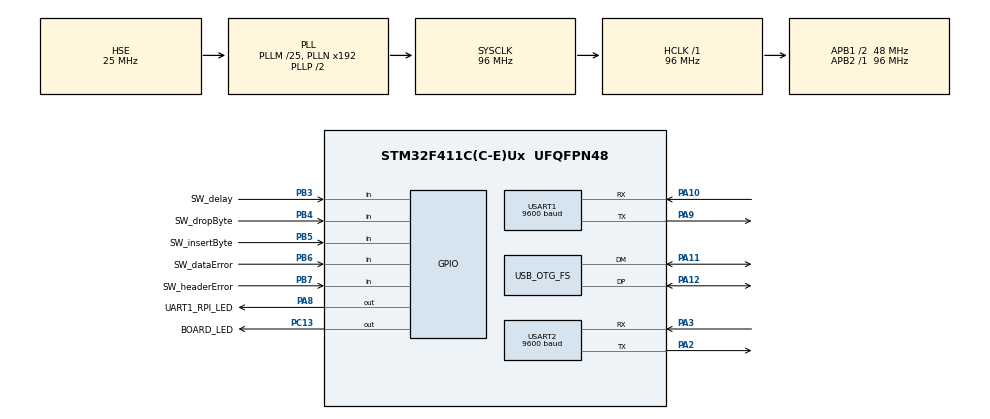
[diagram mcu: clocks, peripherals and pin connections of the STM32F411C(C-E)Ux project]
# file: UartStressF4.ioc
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FREERTOS.BinarySemaphores01=sem01,Dynamic,NULL,;sem02,Dynamic,NULL,Available;sem03,Dynamic,NULL,Available
FREERTOS.CountingSemaphores01=myCountingSem01,2,Dynamic,NULL,2
FREERTOS.INCLUDE_xTaskGetHandle=1
FREERTOS.Mutexes01=mutex01,Dynamic,NULL,Depleted;mutex02,Dynamic,NULL,Available
FREERTOS.Queues01=quToSenzor,128,uint8_t,0,Dynamic,NULL,NULL;quToRpi,128,uint8_t,0,Dynamic,NULL,NULL;quTest1,16,uint8_t,0,Dynamic,NULL,NULL;quTest2,16,uint8_t,0,Dynamic,NULL,NULL
FREERTOS.RecursiveMutexes01=myRecursiveMutex01,Dynamic,NULL,
FREERTOS.Tasks01=defaultTask,24,128,StartDefaultTask,Default,NULL,Dynamic,NULL,NULL;Blinker,8,128,BlinkerStart,Default,NULL,Dynamic,NULL,NULL;usbTerminal,8,1000,usbTerminalStart,Default,NULL,Dynamic,NULL,NULL;taskToRpi,24,256,taskToRpiStart,Default,NULL,Dynamic,NULL,NULL;taskToSensor,24,256,taskToSensorStart,Default,NULL,Dynamic,NULL,NULL;blinkRpi,8,128,blinkRpiStart,Default,NULL,Dynamic,NULL,NULL;blinkSenzor,8,128,blinkSenzorStart,Default,NULL,Dynamic,NULL,NULL
FREERTOS.Timers01=timer01,timer01Callback,osTimerPeriodic,Default,NULL,Dynamic,NULL;timer02,timer02Callback,osTimerOnce,Default,NULL,Dynamic,NULL
FREERTOS.configCHECK_FOR_STACK_OVERFLOW=2
FREERTOS.configENABLE_FPU=1
FREERTOS.configMAX_TASK_NAME_LEN=56
FREERTOS.configRECORD_STACK_HIGH_ADDRESS=1
FREERTOS.configUSE_IDLE_HOOK=1
FREERTOS.configUSE_NEWLIB_REENTRANT=1
Mcu.Family=STM32F4
Mcu.Name=STM32F411C(C-E)Ux
Mcu.Package=UFQFPN48
Mcu.UserConstants=UART_RPI,$$_USART1_IP_HANDLE_$$;UART_SENZOR,$$_USART2_IP_HANDLE_$$
NVIC.OTG_FS_IRQn=true\:5\:0\:false\:false\:true\:true\:false\:true\:true
NVIC.PriorityGroup=NVIC_PRIORITYGROUP_4
NVIC.TIM1_TRG_COM_TIM11_IRQn=true\:15\:0\:false\:false\:true\:false\:false\:true\:true
NVIC.TimeBase=TIM1_TRG_COM_TIM11_IRQn
NVIC.TimeBaseIP=TIM11
NVIC.USART1_IRQn=true\:5\:0\:false\:true\:true\:1\:true\:true\:true\:true
NVIC.USART2_IRQn=true\:5\:0\:false\:true\:true\:2\:true\:true\:true\:true
PA10.Mode=Asynchronous
PA10.Signal=USART1_RX
PA11.Mode=Device_Only
PA11.Signal=USB_OTG_FS_DM
PA12.Mode=Device_Only
PA12.Signal=USB_OTG_FS_DP
PA13.Mode=Serial_Wire
PA13.Signal=SYS_JTMS-SWDIO
PA14.Mode=Serial_Wire
PA14.Signal=SYS_JTCK-SWCLK
PA2.Mode=Asynchronous
PA2.Signal=USART2_TX
PA3.Mode=Asynchronous
PA3.Signal=USART2_RX
PA8.GPIO_Label=UART1_RPI_LED
PA8.Signal=GPIO_Output
PA9.Mode=Asynchronous
PA9.Signal=USART1_TX
PB3.GPIO_Label=SW_delay
PB3.GPIO_Mode=GPIO_MODE_INPUT
PB3.GPIO_PuPd=GPIO_PULLUP
PB3.Signal=GPIO_Input
PB4.GPIO_Label=SW_dropByte
PB4.GPIO_Mode=GPIO_MODE_INPUT
PB4.GPIO_PuPd=GPIO_PULLUP
PB4.Signal=GPIO_Input
PB5.GPIO_Label=SW_insertByte
PB5.GPIO_Mode=GPIO_MODE_INPUT
PB5.GPIO_PuPd=GPIO_PULLUP
PB5.Signal=GPIO_Input
PB6.GPIO_Label=SW_dataError
PB6.GPIO_Mode=GPIO_MODE_INPUT
PB6.GPIO_PuPd=GPIO_PULLUP
PB6.Signal=GPIO_Input
PB7.GPIO_Label=SW_headerError
PB7.GPIO_Mode=GPIO_MODE_INPUT
PB7.GPIO_PuPd=GPIO_PULLUP
PB7.Signal=GPIO_Input
PC13-ANTI_TAMP.GPIO_Label=BOARD_LED
PC13-ANTI_TAMP.Signal=GPIO_Output
PH0\ -\ OSC_IN.Mode=HSE-External-Oscillator
PH0\ -\ OSC_IN.Signal=RCC_OSC_IN
PH1\ -\ OSC_OUT.Mode=HSE-External-Oscillator
PH1\ -\ OSC_OUT.Signal=RCC_OSC_OUT
ProjectManager.HeapSize=0x200
ProjectManager.StackSize=0x400
ProjectManager.TargetToolchain=STM32CubeIDE
RCC.48MHZClocksFreq_Value=48000000
RCC.AHBFreq_Value=96000000
RCC.APB1CLKDivider=RCC_HCLK_DIV2
RCC.APB1Freq_Value=48000000
RCC.APB1TimFreq_Value=96000000
RCC.APB2Freq_Value=96000000
RCC.APB2TimFreq_Value=96000000
RCC.CortexFreq_Value=96000000
RCC.EnbaleCSS=true
RCC.HCLKFreq_Value=96000000
RCC.HSE_VALUE=25000000
RCC.HSI_VALUE=16000000
RCC.LSE_VALUE=32768
RCC.PLLM=25
RCC.SYSCLKFreq_VALUE=96000000
RCC.SYSCLKSource=RCC_SYSCLKSOURCE_PLLCLK
RCC.VCOOutputFreq_Value=192000000
TIM3.Period=60000-1
TIM3.Prescaler=10000-1
TIM3.TIM_MasterOutputTrigger=TIM_TRGO_UPDATE
USART1.BaudRate=9600
USART1.VirtualMode=VM_ASYNC
USART2.BaudRate=9600
USART2.VirtualMode=VM_ASYNC
USB_DEVICE.APP_RX_DATA_SIZE=2048
USB_DEVICE.APP_TX_DATA_SIZE=2048
USB_DEVICE.CLASS_NAME_FS=CDC
USB_DEVICE.CONFIGURATION_STRING_CDC_FS=CDC Config
USB_DEVICE.INTERFACE_STRING_CDC_FS=CDC Interface
USB_DEVICE.MANUFACTURER_STRING=STMicroelectronics
USB_DEVICE.PRODUCT_STRING_CDC_FS=STM32 Virtual ComPort
USB_DEVICE.USBD_MAX_NUM_CONFIGURATION=1
USB_DEVICE.USBD_MAX_NUM_INTERFACES=1
USB_DEVICE.VID=1155
USB_DEVICE.VirtualMode=Cdc
USB_DEVICE.VirtualModeFS=Cdc_FS
USB_OTG_FS.VirtualMode=Device_Only
VP_FREERTOS_VS_CMSIS_V2.Mode=CMSIS_V2
VP_SYS_VS_tim11.Mode=TIM11
VP_TIM3_VS_ClockSourceINT.Mode=Internal
VP_USB_DEVICE_VS_USB_DEVICE_CDC_FS.Mode=CDC_FS
board=custom

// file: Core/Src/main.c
/* USER CODE BEGIN Header */
/**
 ******************************************************************************
 * @file           : main.c
 * @brief          : Main program body
 ******************************************************************************
 * @attention
 *
 * Copyright (c) 2024 STMicroelectronics.
 * All rights reserved.
 *
 * This software is licensed under terms that can be found in the LICENSE file
 * in the root directory of this software component.
 * If no LICENSE file comes with this software, it is provided AS-IS.
 *
 ******************************************************************************
 */
/* USER CODE END Header */
#include "main.h"
#include "cmsis_os.h"
#include "usb_device.h"

/* USER CODE BEGIN Includes */
#include "stdbool.h"
#include "FreeRTOS.h"
#include "queue.h"
#include "usbd_cdc_if.h"
#include "Led.h"
/* USER CODE END Includes */

TIM_HandleTypeDef htim3;

UART_HandleTypeDef huart1;
UART_HandleTypeDef huart2;

/* Definitions for defaultTask */
osThreadId_t defaultTaskHandle;
const osThreadAttr_t defaultTask_attributes = {
  .name = "defaultTask",
  .stack_size = 128 * 4,
  .priority = (osPriority_t) osPriorityNormal,
};
/* Definitions for Blinker */
osThreadId_t BlinkerHandle;
const osThreadAttr_t Blinker_attributes = {
  .name = "Blinker",
  .stack_size = 128 * 4,
  .priority = (osPriority_t) osPriorityLow,
};
/* Definitions for usbTerminal */
osThreadId_t usbTerminalHandle;
const osThreadAttr_t usbTerminal_attributes = {
  .name = "usbTerminal",
  .stack_size = 1000 * 4,
  .priority = (osPriority_t) osPriorityLow,
};
/* Definitions for taskToRpi */
osThreadId_t taskToRpiHandle;
const osThreadAttr_t taskToRpi_attributes = {
  .name = "taskToRpi",
  .stack_size = 256 * 4,
  .priority = (osPriority_t) osPriorityNormal,
};
/* Definitions for taskToSensor */
osThreadId_t taskToSensorHandle;
const osThreadAttr_t taskToSensor_attributes = {
  .name = "taskToSensor",
  .stack_size = 256 * 4,
  .priority = (osPriority_t) osPriorityNormal,
};
/* Definitions for blinkRpi */
osThreadId_t blinkRpiHandle;
const osThreadAttr_t blinkRpi_attributes = {
  .name = "blinkRpi",
  .stack_size = 128 * 4,
  .priority = (osPriority_t) osPriorityLow,
};
/* Definitions for blinkSenzor */
osThreadId_t blinkSenzorHandle;
const osThreadAttr_t blinkSenzor_attributes = {
  .name = "blinkSenzor",
  .stack_size = 128 * 4,
  .priority = (osPriority_t) osPriorityLow,
};
/* Definitions for quToSenzor */
osMessageQueueId_t quToSenzorHandle;
const osMessageQueueAttr_t quToSenzor_attributes = {
  .name = "quToSenzor"
};
/* Definitions for quToRpi */
osMessageQueueId_t quToRpiHandle;
const osMessageQueueAttr_t quToRpi_attributes = {
  .name = "quToRpi"
};
/* Definitions for quTest1 */
osMessageQueueId_t quTest1Handle;
const osMessageQueueAttr_t quTest1_attributes = {
  .name = "quTest1"
};
/* Definitions for quTest2 */
osMessageQueueId_t quTest2Handle;
const osMessageQueueAttr_t quTest2_attributes = {
  .name = "quTest2"
};
/* Definitions for timer01 */
osTimerId_t timer01Handle;
const osTimerAttr_t timer01_attributes = {
  .name = "timer01"
};
/* Definitions for timer02 */
osTimerId_t timer02Handle;
const osTimerAttr_t timer02_attributes = {
  .name = "timer02"
};
/* Definitions for mutex01 */
osMutexId_t mutex01Handle;
const osMutexAttr_t mutex01_attributes = {
  .name = "mutex01"
};
/* Definitions for mutex02 */
osMutexId_t mutex02Handle;
const osMutexAttr_t mutex02_attributes = {
  .name = "mutex02"
};
/* Definitions for myRecursiveMutex01 */
osMutexId_t myRecursiveMutex01Handle;
const osMutexAttr_t myRecursiveMutex01_attributes = {
  .name = "myRecursiveMutex01",
  .attr_bits = osMutexRecursive,
};
/* Definitions for sem01 */
osSemaphoreId_t sem01Handle;
const osSemaphoreAttr_t sem01_attributes = {
  .name = "sem01"
};
/* Definitions for sem02 */
osSemaphoreId_t sem02Handle;
const osSemaphoreAttr_t sem02_attributes = {
  .name = "sem02"
};
/* Definitions for sem03 */
osSemaphoreId_t sem03Handle;
const osSemaphoreAttr_t sem03_attributes = {
  .name = "sem03"
};
/* Definitions for myCountingSem01 */
osSemaphoreId_t myCountingSem01Handle;
const osSemaphoreAttr_t myCountingSem01_attributes = {
  .name = "myCountingSem01"
};

void SystemClock_Config(void);
static void MX_GPIO_Init(void);
static void MX_TIM3_Init(void);
static void MX_USART1_UART_Init(void);
static void MX_USART2_UART_Init(void);
void StartDefaultTask(void *argument);
void BlinkerStart(void *argument);
void usbTerminalStart(void *argument);
void taskToRpiStart(void *argument);
void taskToSensorStart(void *argument);
void blinkRpiStart(void *argument);
void blinkSenzorStart(void *argument);
void timer01Callback(void *argument);
void timer02Callback(void *argument);

static void MX_NVIC_Init(void);

int main(void)
{

  /* MCU Configuration--------------------------------------------------------*/

  /* Reset of all peripherals, Initializes the Flash interface and the Systick. */
  HAL_Init();

  /* Configure the system clock */
  SystemClock_Config();

  /* Initialize all configured peripherals */
  MX_GPIO_Init();
  MX_TIM3_Init();
  MX_USART1_UART_Init();
  MX_USART2_UART_Init();

  /* Initialize interrupts */
  MX_NVIC_Init();

  /* Init scheduler */
  osKernelInitialize();
  /* Create the mutex(es) */
  /* creation of mutex01 */
  mutex01Handle = osMutexNew(&mutex01_attributes);

  /* creation of mutex02 */
  mutex02Handle = osMutexNew(&mutex02_attributes);

  /* Create the recursive mutex(es) */
  /* creation of myRecursiveMutex01 */
  myRecursiveMutex01Handle = osMutexNew(&myRecursiveMutex01_attributes);

  /* Create the semaphores(s) */
  /* creation of sem01 */
  sem01Handle = osSemaphoreNew(1, 0, &sem01_attributes);

  /* creation of sem02 */
  sem02Handle = osSemaphoreNew(1, 1, &sem02_attributes);

  /* creation of sem03 */
  sem03Handle = osSemaphoreNew(1, 1, &sem03_attributes);

  /* creation of myCountingSem01 */
  myCountingSem01Handle = osSemaphoreNew(2, 2, &myCountingSem01_attributes);

  /* Create the timer(s) */
  /* creation of timer01 */
  timer01Handle = osTimerNew(timer01Callback, osTimerPeriodic, NULL, &timer01_attributes);

  /* creation of timer02 */
  timer02Handle = osTimerNew(timer02Callback, osTimerOnce, NULL, &timer02_attributes);

  /* Create the queue(s) */
  /* creation of quToSenzor */
  quToSenzorHandle = osMessageQueueNew (128, sizeof(uint8_t), &quToSenzor_attributes);

  /* creation of quToRpi */
  quToRpiHandle = osMessageQueueNew (128, sizeof(uint8_t), &quToRpi_attributes);

  /* creation of quTest1 */
  quTest1Handle = osMessageQueueNew (16, sizeof(uint8_t), &quTest1_attributes);

  /* creation of quTest2 */
  quTest2Handle = osMessageQueueNew (16, sizeof(uint8_t), &quTest2_attributes);

  /* Create the thread(s) */
  /* creation of defaultTask */
  defaultTaskHandle = osThreadNew(StartDefaultTask, NULL, &defaultTask_attributes);

  /* creation of Blinker */
  BlinkerHandle = osThreadNew(BlinkerStart, NULL, &Blinker_attributes);

  /* creation of usbTerminal */
  usbTerminalHandle = osThreadNew(usbTerminalStart, NULL, &usbTerminal_attributes);

  /* creation of taskToRpi */
  taskToRpiHandle = osThreadNew(taskToRpiStart, NULL, &taskToRpi_attributes);

  /* creation of taskToSensor */
  taskToSensorHandle = osThreadNew(taskToSensorStart, NULL, &taskToSensor_attributes);

  /* creation of blinkRpi */
  blinkRpiHandle = osThreadNew(blinkRpiStart, NULL, &blinkRpi_attributes);

  /* creation of blinkSenzor */
  blinkSenzorHandle = osThreadNew(blinkSenzorStart, NULL, &blinkSenzor_attributes);

  /* Start scheduler */
  osKernelStart();

  /* We should never get here as control is now taken by the scheduler */

  /* Infinite loop */
	while (1) {

	}
}

void SystemClock_Config(void)
{
  RCC_OscInitTypeDef RCC_OscInitStruct = {0};
  RCC_ClkInitTypeDef RCC_ClkInitStruct = {0};

  /** Configure the main internal regulator output voltage
  */
  __HAL_RCC_PWR_CLK_ENABLE();
  __HAL_PWR_VOLTAGESCALING_CONFIG(PWR_REGULATOR_VOLTAGE_SCALE1);

  /** Initializes the RCC Oscillators according to the specified parameters
  * in the RCC_OscInitTypeDef structure.
  */
  RCC_OscInitStruct.OscillatorType = RCC_OSCILLATORTYPE_HSE;
  RCC_OscInitStruct.HSEState = RCC_HSE_ON;
  RCC_OscInitStruct.PLL.PLLState = RCC_PLL_ON;
  RCC_OscInitStruct.PLL.PLLSource = RCC_PLLSOURCE_HSE;
  RCC_OscInitStruct.PLL.PLLM = 25;
  RCC_OscInitStruct.PLL.PLLN = 192;
  RCC_OscInitStruct.PLL.PLLP = RCC_PLLP_DIV2;
  RCC_OscInitStruct.PLL.PLLQ = 4;
  if (HAL_RCC_OscConfig(&RCC_OscInitStruct) != HAL_OK)
  {
    Error_Handler();
  }

  /** Initializes the CPU, AHB and APB buses clocks
  */
  RCC_ClkInitStruct.ClockType = RCC_CLOCKTYPE_HCLK|RCC_CLOCKTYPE_SYSCLK
                              |RCC_CLOCKTYPE_PCLK1|RCC_CLOCKTYPE_PCLK2;
  RCC_ClkInitStruct.SYSCLKSource = RCC_SYSCLKSOURCE_PLLCLK;
  RCC_ClkInitStruct.AHBCLKDivider = RCC_SYSCLK_DIV1;
  RCC_ClkInitStruct.APB1CLKDivider = RCC_HCLK_DIV2;
  RCC_ClkInitStruct.APB2CLKDivider = RCC_HCLK_DIV1;

  if (HAL_RCC_ClockConfig(&RCC_ClkInitStruct, FLASH_LATENCY_3) != HAL_OK)
  {
    Error_Handler();
  }

  /** Enables the Clock Security System
  */
  HAL_RCC_EnableCSS();
}

/**
  * @brief NVIC Configuration.
  * @retval None
  */
static void MX_NVIC_Init(void)
{
  /* USART1_IRQn interrupt configuration */
  HAL_NVIC_SetPriority(USART1_IRQn, 5, 0);
  HAL_NVIC_EnableIRQ(USART1_IRQn);
  /* USART2_IRQn interrupt configuration */
  HAL_NVIC_SetPriority(USART2_IRQn, 5, 0);
  HAL_NVIC_EnableIRQ(USART2_IRQn);
}

static void MX_TIM3_Init(void)
{

  TIM_ClockConfigTypeDef sClockSourceConfig = {0};
  TIM_MasterConfigTypeDef sMasterConfig = {0};

  htim3.Instance = TIM3;
  htim3.Init.Prescaler = 10000-1;
  htim3.Init.CounterMode = TIM_COUNTERMODE_UP;
  htim3.Init.Period = 60000-1;
  htim3.Init.ClockDivision = TIM_CLOCKDIVISION_DIV1;
  htim3.Init.AutoReloadPreload = TIM_AUTORELOAD_PRELOAD_DISABLE;
  if (HAL_TIM_Base_Init(&htim3) != HAL_OK)
  {
    Error_Handler();
  }
  sClockSourceConfig.ClockSource = TIM_CLOCKSOURCE_INTERNAL;
  if (HAL_TIM_ConfigClockSource(&htim3, &sClockSourceConfig) != HAL_OK)
  {
    Error_Handler();
  }
  sMasterConfig.MasterOutputTrigger = TIM_TRGO_UPDATE;
  sMasterConfig.MasterSlaveMode = TIM_MASTERSLAVEMODE_DISABLE;
  if (HAL_TIMEx_MasterConfigSynchronization(&htim3, &sMasterConfig) != HAL_OK)
  {
    Error_Handler();
  }

}

static void MX_USART1_UART_Init(void)
{

  huart1.Instance = USART1;
  huart1.Init.BaudRate = 9600;
  huart1.Init.WordLength = UART_WORDLENGTH_8B;
  huart1.Init.StopBits = UART_STOPBITS_1;
  huart1.Init.Parity = UART_PARITY_NONE;
  huart1.Init.Mode = UART_MODE_TX_RX;
  huart1.Init.HwFlowCtl = UART_HWCONTROL_NONE;
  huart1.Init.OverSampling = UART_OVERSAMPLING_16;
  if (HAL_UART_Init(&huart1) != HAL_OK)
  {
    Error_Handler();
  }

}

static void MX_USART2_UART_Init(void)
{

  huart2.Instance = USART2;
  huart2.Init.BaudRate = 9600;
  huart2.Init.WordLength = UART_WORDLENGTH_8B;
  huart2.Init.StopBits = UART_STOPBITS_1;
  huart2.Init.Parity = UART_PARITY_NONE;
  huart2.Init.Mode = UART_MODE_TX_RX;
  huart2.Init.HwFlowCtl = UART_HWCONTROL_NONE;
  huart2.Init.OverSampling = UART_OVERSAMPLING_16;
  if (HAL_UART_Init(&huart2) != HAL_OK)
  {
    Error_Handler();
  }

}

static void MX_GPIO_Init(void)
{
  GPIO_InitTypeDef GPIO_InitStruct = {0};

  /* GPIO Ports Clock Enable */
  __HAL_RCC_GPIOC_CLK_ENABLE();
  __HAL_RCC_GPIOH_CLK_ENABLE();
  __HAL_RCC_GPIOA_CLK_ENABLE();
  __HAL_RCC_GPIOB_CLK_ENABLE();

  /*Configure GPIO pin Output Level */
  HAL_GPIO_WritePin(BOARD_LED_GPIO_Port, BOARD_LED_Pin, GPIO_PIN_RESET);

  /*Configure GPIO pin Output Level */
  HAL_GPIO_WritePin(UART1_RPI_LED_GPIO_Port, UART1_RPI_LED_Pin, GPIO_PIN_RESET);

  /*Configure GPIO pin : BOARD_LED_Pin */
  GPIO_InitStruct.Pin = BOARD_LED_Pin;
  GPIO_InitStruct.Mode = GPIO_MODE_OUTPUT_PP;
  GPIO_InitStruct.Pull = GPIO_NOPULL;
  GPIO_InitStruct.Speed = GPIO_SPEED_FREQ_LOW;
  HAL_GPIO_Init(BOARD_LED_GPIO_Port, &GPIO_InitStruct);

  /*Configure GPIO pin : UART1_RPI_LED_Pin */
  GPIO_InitStruct.Pin = UART1_RPI_LED_Pin;
  GPIO_InitStruct.Mode = GPIO_MODE_OUTPUT_PP;
  GPIO_InitStruct.Pull = GPIO_NOPULL;
  GPIO_InitStruct.Speed = GPIO_SPEED_FREQ_LOW;
  HAL_GPIO_Init(UART1_RPI_LED_GPIO_Port, &GPIO_InitStruct);

  /*Configure GPIO pins : SW_delay_Pin SW_dropByte_Pin SW_insertByte_Pin SW_dataError_Pin
                           SW_headerError_Pin */
  GPIO_InitStruct.Pin = SW_delay_Pin|SW_dropByte_Pin|SW_insertByte_Pin|SW_dataError_Pin
                          |SW_headerError_Pin;
  GPIO_InitStruct.Mode = GPIO_MODE_INPUT;
  GPIO_InitStruct.Pull = GPIO_PULLUP;
  HAL_GPIO_Init(GPIOB, &GPIO_InitStruct);

}

/* USER CODE BEGIN 4 */

bool delayFlag;
bool dropFlag;
bool insertFlag;
bool dataErrorFlag;
bool headerErrorFlag;
unsigned int dlymS = 0;
uint8_t rxu1;
uint8_t rxu2;

void HAL_UART_RxCpltCallback(UART_HandleTypeDef *huart) {
	// bajt dolazi iz Rpi (uart1)
	if (huart->Instance == USART1) {

		BaseType_t xHigherPriorityTaskWoken = pdFALSE;
//		rxu1 = (uint8_t) (huart->Instance->DR & 0xFF);
		xQueueSendFromISR(quToSenzorHandle, &rxu1, &xHigherPriorityTaskWoken);

		// Restart UART reception
		HAL_UART_Receive_IT(&huart1, &rxu1, 1);
		// Yield if a higher priority task was woken
		portYIELD_FROM_ISR(xHigherPriorityTaskWoken);
	}

	// bajt dolazi iz senzora (uart2)
	if (huart->Instance == USART2) {
		BaseType_t xHigherPriorityTaskWoken = pdFALSE;
//		rxu2 = (uint8_t) (huart->Instance->DR & 0xFF);
		xQueueSendFromISR(quToRpiHandle, &rxu2, &xHigherPriorityTaskWoken);

		// Restart UART reception
		HAL_UART_Receive_IT(&huart2, &rxu2, 1);
		// Yield if a higher priority task was woken
		portYIELD_FROM_ISR(xHigherPriorityTaskWoken);
	}

}

/* USER CODE END 4 */

void StartDefaultTask(void *argument)
{
  /* init code for USB_DEVICE */
  MX_USB_DEVICE_Init();
  /* USER CODE BEGIN 5 */
	HAL_UART_Receive_IT(&huart1, &rxu1, 1);
	HAL_UART_Receive_IT(&huart2, &rxu2, 1);
	/* Infinite loop */
	for (;;) {
		delayFlag = (HAL_GPIO_ReadPin(SW_delay_GPIO_Port, SW_delay_Pin) == GPIO_PIN_RESET) ? true : false;
		dropFlag = (HAL_GPIO_ReadPin(SW_dropByte_GPIO_Port, SW_dropByte_Pin) == GPIO_PIN_RESET) ? true : false;
		insertFlag = (HAL_GPIO_ReadPin(SW_insertByte_GPIO_Port, SW_insertByte_Pin) == GPIO_PIN_RESET) ? true : false;
		dataErrorFlag = (HAL_GPIO_ReadPin(SW_dataError_GPIO_Port, SW_dataError_Pin) == GPIO_PIN_RESET) ? true : false;
		headerErrorFlag = (HAL_GPIO_ReadPin(SW_headerError_GPIO_Port, SW_headerError_Pin) == GPIO_PIN_RESET) ? true : false;
		dlymS = (delayFlag) ? 500 : 0;
		osDelay(100);
	}
  /* USER CODE END 5 */
}

void BlinkerStart(void *argument)
{
  /* USER CODE BEGIN BlinkerStart */
	/* Infinite loop */
	for (;;) {
//		int tajm = ulTaskNotifyTake(pdTRUE, 5000);
//		if (0 == tajm) {
//			ledBlinkCount(10, 1, 19);// 10 puta (1:19 duty cycle) = 200mS smanjenim intenzitetom
//		} else {
//			ledBlink(10, 10);
//		}
		osDelay(1);

	}
  /* USER CODE END BlinkerStart */
}

void usbTerminalStart(void *argument)
{
  /* USER CODE BEGIN usbTerminalStart */
	/* Infinite loop */
	for (;;) {
//		HAL_UART_Transmit(&UART_RPI, (uint8_t*) "1", 1, 10);
//		HAL_UART_Transmit(&UART_SENZOR, (uint8_t*) "2", 1, 10);

//		uint8_t msg1[] = "abc";
//		CDC_Transmit_FS(msg1, sizeof(&msg1));
//		CDC_Transmit_FS("xyz", sizeof("xyz"));

		char num[5] = "     ";
		itoa(dlymS, num, 10);
		osDelay(2);

		(delayFlag) ? CDC_Transmit_FS((uint8_t*) "dly=", 4) : (void) (0);
		osDelay(2);

		(delayFlag) ? CDC_Transmit_FS((uint8_t*) &num, sizeof(num)) : (void) (0);
		osDelay(2);

		(delayFlag) ? CDC_Transmit_FS((uint8_t*) " ", 1) : (void) (0);
		osDelay(2);

		(dropFlag) ? CDC_Transmit_FS((uint8_t*) "drop ", 5) : (void) (0);
		osDelay(2);

		(insertFlag) ? CDC_Transmit_FS((uint8_t*) "ins ", 4) : (void) (0);
		osDelay(2);

		(dataErrorFlag) ? CDC_Transmit_FS((uint8_t*) "err ", 4) : (void) (0);
		osDelay(2);

		(headerErrorFlag) ? CDC_Transmit_FS((uint8_t*) "hdr ", 4) : (void) (0);

		if (delayFlag || dropFlag || insertFlag || dataErrorFlag || headerErrorFlag) {
			osDelay(2);
			CDC_Transmit_FS((uint8_t*) "\n\r", 2);
		} else {
			osDelay(2);
			CDC_Transmit_FS((uint8_t*) "pass-through\r", sizeof("pass-through\r"));
		}

		osDelay(100);
	}
  /* USER CODE END usbTerminalStart */
}

void taskToRpiStart(void *argument)
{
  /* USER CODE BEGIN taskToRpiStart */
	uint8_t rxBr;
	uint8_t cnt;
	/* Infinite loop */
	for (;;) {
		cnt = 0;
		xQueueReceive(quToRpiHandle, &rxBr, portMAX_DELAY);
		osDelay(20); // posle prvog bajta, cekam dok sigurno pristignu svi ostali i tek onda prosledjujem dalje
		if (delayFlag) {
			osDelay(dlymS);
		}
		xTaskNotifyGive(blinkRpiHandle);
		while (HAL_UART_GetState(&UART_RPI) == HAL_UART_STATE_BUSY) {
			__asm("NOP");
		}
		HAL_UART_Transmit(&UART_RPI, &rxBr, 1, 2);
		//
		// 0123456789 .
		//
		while (xQueueReceive(quToRpiHandle, &rxBr, 0) == pdPASS) {
			cnt++;		// izvan petlje je vec primljen nulti, sto xnaci da je prvi bajt
			// unosim razne greske na raznim pozicijama
			// pozicija je uvek drugacija jer cemu sluzi pogresan bajt ako cu posle da ga dropujem
			// ili bi se ponistili drop i insert
			if ((dropFlag) && (cnt == 3)) {
				continue; 									// dropuje ovaj bajt
			};
			if ((insertFlag) && (cnt == 4)) {
				while (HAL_UART_GetState(&UART_RPI) == HAL_UART_STATE_BUSY) {
					__asm("NOP");
				};
				uint8_t bzv = 43;	// ascii '+'
				HAL_UART_Transmit(&UART_RPI, &bzv, 1, 2);
			};
			if ((dataErrorFlag) && (cnt == 2)) {
//				rxBr++;									// unosi gresku u podatke
				rxBr = 101;								// ascii 'e'
			};
			if ((headerErrorFlag) && (cnt == 1)) {
//				rxBr++;									// unosi gresku u header (nulti i prvi bajt)
				rxBr = 104;								// ascii 'h'
			};
			while (HAL_UART_GetState(&UART_RPI) == HAL_UART_STATE_BUSY) {
				__asm("NOP");
			}
			HAL_UART_Transmit(&UART_RPI, &rxBr, 1, 2);
		}
	}
  /* USER CODE END taskToRpiStart */
}

void taskToSensorStart(void *argument)
{
  /* USER CODE BEGIN taskToSensorStart */
	uint8_t rxBs;
	/* Infinite loop */
	for (;;) {
		xQueueReceive(quToSenzorHandle, &rxBs, portMAX_DELAY);
		xTaskNotifyGive(blinkSenzorHandle);
		while (HAL_UART_GetState(&UART_SENZOR) == HAL_UART_STATE_BUSY) {
			__asm("NOP");
		}
		HAL_UART_Transmit(&UART_SENZOR, &rxBs, 1, 2);
		while (xQueueReceive(quToSenzorHandle, &rxBs, 0) == pdPASS) {
			while (HAL_UART_GetState(&UART_SENZOR) == HAL_UART_STATE_BUSY) {
				__asm("NOP");
			}
			HAL_UART_Transmit(&UART_SENZOR, &rxBs, 1, 2);
		}
	}
  /* USER CODE END taskToSensorStart */
}

void blinkRpiStart(void *argument)
{
  /* USER CODE BEGIN blinkRpiStart */
	/* Infinite loop */
	for (;;) {
		int tajm = ulTaskNotifyTake(pdTRUE, 5000);
		if (0 == tajm) {
			ledBlink_RpiCount(10, 1, 29);								// 10 puta @ 1:30 duty cycle ~ 300mS smanjenim intenzitetom
		} else {
			ledBlink_Rpi(3, 1);
		}
	}
  /* USER CODE END blinkRpiStart */
}

void blinkSenzorStart(void *argument)
{
  /* USER CODE BEGIN blinkSenzorStart */
	/* Infinite loop */
	for (;;) {
		int tajm = ulTaskNotifyTake(pdTRUE, 5000);
		if (0 == tajm) {
			ledBlinkCount(10, 1, 29);								// 10 puta @ 1:30 duty cycle = 300mS smanjenim intenzitetom
		} else {
			ledBlink(5, 2);
		}
	}
  /* USER CODE END blinkSenzorStart */
}

/* timer01Callback function */
void timer01Callback(void *argument)
{
}

/* timer02Callback function */
void timer02Callback(void *argument)
{
}

void HAL_TIM_PeriodElapsedCallback(TIM_HandleTypeDef *htim)
{
  if (htim->Instance == TIM11) {
    HAL_IncTick();
  }
}

void Error_Handler(void)
{
	__disable_irq();
	while (1) {
	}
}

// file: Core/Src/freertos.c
/* USER CODE BEGIN Header */
/**
  ******************************************************************************
  * File Name          : freertos.c
  * Description        : Code for freertos applications
  ******************************************************************************
  * @attention
  *
  * Copyright (c) 2024 STMicroelectronics.
  * All rights reserved.
  *
  * This software is licensed under terms that can be found in the LICENSE file
  * in the root directory of this software component.
  * If no LICENSE file comes with this software, it is provided AS-IS.
  *
  ******************************************************************************
  */
/* USER CODE END Header */

#include "FreeRTOS.h"
#include "task.h"
#include "main.h"

/* Hook prototypes */
void vApplicationIdleHook(void);
void vApplicationStackOverflowHook(xTaskHandle xTask, signed char *pcTaskName);

/* USER CODE BEGIN 2 */
void vApplicationIdleHook( void )
{
   /* vApplicationIdleHook() will only be called if configUSE_IDLE_HOOK is set
   to 1 in FreeRTOSConfig.h. It will be called on each iteration of the idle
   task. It is essential that code added to this hook function never attempts
   to block in any way (for example, call xQueueReceive() with a block time
   specified, or call vTaskDelay()). If the application makes use of the
   vTaskDelete() API function (as this demo application does) then it is also
   important that vApplicationIdleHook() is permitted to return to its calling
   function, because it is the responsibility of the idle task to clean up
   memory allocated by the kernel to any task that has since been deleted. */
}
/* USER CODE END 2 */

/* USER CODE BEGIN 4 */
void vApplicationStackOverflowHook(xTaskHandle xTask, signed char *pcTaskName)
{
   /* Run time stack overflow checking is performed if
   configCHECK_FOR_STACK_OVERFLOW is defined to 1 or 2. This hook function is
   called if a stack overflow is detected. */
}
/* USER CODE END 4 */
